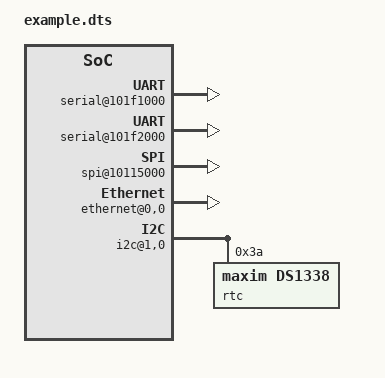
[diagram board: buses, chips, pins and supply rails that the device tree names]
/*
 *	Cortex-A9-->| | 
 *				|l|
 *	Cortex-A9-->|o|-->serial controller(two serial,address->1:0x101F1000 2:0x101F2000)
 *				|c|
 *				|a|-->spi controller(addres:0x1017000)
 *				|l|
 *				| |-->gpio controller(addres:0x101F3000)
 *				|b|
 *				|u|-->interrupt controller(address:0x1014000)
 *				|s|
 *				| |-->external bus bridge--->| |
 *				|_|							 |e|
 *											 |x|-->SMC91111(address:0x10100000)
 *											 |t|
 *											 |e|-->NOR Flash(64MB,address:0x30000000)
 *											 |r|
 *											 |n|-->I2C controller--->| |
 *											 | |(address:0x10160000) |I|
 *											 |b|					 |I|
 *											 |u|					 |C|
 *											 |s|					 | |-->DS1338(I2C address:0x58)
 *											 |_|					 |b|
 *																	 |u|
 *																	 |s|
 *																	 |_|
 */
 
 / {
		compatible = "acme,coyotes-revenge";
		#address-cells = <1>;
		#size-cells = <1>;
		interrupt-parent = <&inc>;
		
		cpus {
			#address-cells = <1>;
			#size-cells = <0>;
			cpu@0 {
				compatible = "arm,cortex-a9";
				reg = <0>;
			};
			cpu@1 {
				compatible = "arm,cortex-a9";
				reg = <1>;
			};
		};
		
		serial@101f1000 {
			compatible = "arm,p1011";
			reg = <0x101f1000 0x1000>;
			interrupts = <1 0>;
		};
		
		serial@101f2000 {
			compatible = "arm,p1011";
			reg = <0x101f2000 0x1000>;
			interrupts = <2 0>;
		};
		
		gpio@101f3000 {
			compatible = "arm,p1061";
			reg = <0x101f3000 0x1000
				   0x101f4000 0x0010>;
			interrupts = <3 0>;
		};
		
		intc: interrupt-controller@10140000 {
			compatible = "arm,p1190";
			reg = <0x10140000 0x1000>;
			interrupt-controller;
			#interrupt-cells = <2>;
		};
		
		spi@10115000 {
			compatible = "arm,p1022";
			reg = <0x10115000 0x1000>;
			interrupts = <4 0>;
		};
		
		external-bus {
			#address-cells = <3>;
			#size-cells = <1>;
			ranges = <0 0 0x10100000 0x10000	//chipselect 1,Ethernet
					  1 0 0x10160000 0x10000	//chipselect 2,i2c controller
					  2 0 0x30000000 0x1000000>;//chipselect 3,NOR Flash
			
			ethernet@0,0 {
				compatible = "smc,smc91c111";
				reg = <0 0 0x1000>;
				interrupts = <5 2>;
			};
			
			i2c@1,0 {
				compatible = "acme,a1234-i2c-bus";
				#address-cells = <1>;
				#size-cells = <0>;
				reg = <1 0 0x1000>;
				interrupts = <6 2>;
				rtc@58 {
					compatible = "maxim,ds1338";
					reg = <58>;
					interrupts = <7 3>;
				};
			};
			
			flash@2,0 {
				compatible = "samsung,k8f1315ebm", "cfi-flash";
				reg = <2 0 0x4000000>;
			};
		};
 };
 
 
 
 
 
 
 
 
 
 
 
 
 
 
 
 
 
 
 
 
 
 
 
